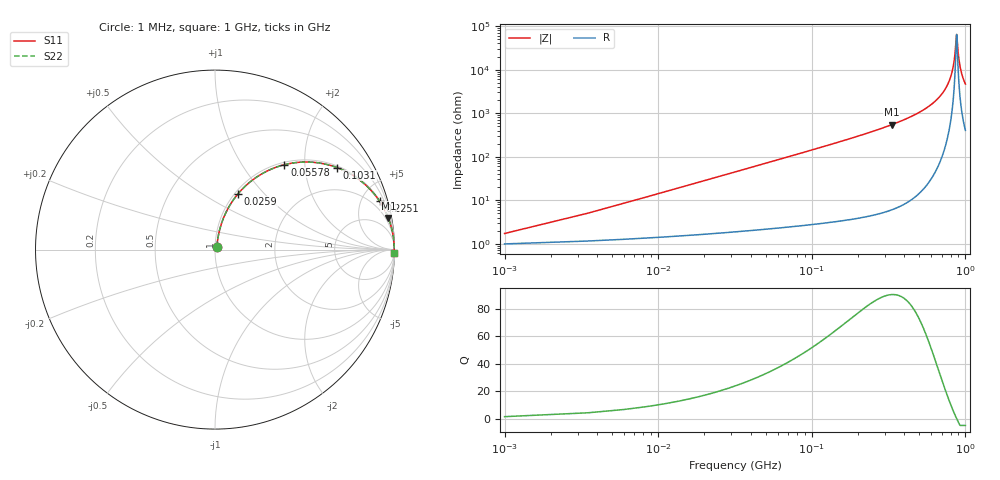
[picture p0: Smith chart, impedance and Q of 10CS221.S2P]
! Coilcraft 1008CS-221 Chip Inductor
! 02 July 2002
# MHZ S MA R 50
!Freq  MagS11  AngS11  MagS21  AngS21  MagS12  AngS12  MagS22  AngS22
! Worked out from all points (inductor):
!   403 points, 1 MHz to 1 GHz, reference 50 ohm
!   read as one part in series: L = 224 nH near 5.98 MHz
!   highest Q = 90.6 at 332.2 MHz (marker M1), where L = 262 nH
!   self-resonance near 875 MHz
!   S11 on the Smith chart (normalised r, x): 1 MHz: 1.02, +0.03; 25.9 MHz: 1.04, +0.73; 55.78 MHz: 1.04, +1.58; 103.1 MHz: 1.06, +2.94; 225.1 MHz: 1.08, +6.78; 1 GHz: 9, -93
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1  0.01704 54.1  0.9901 -0.8  0.9901 -0.8  0.01704 54.1
8.47  0.1176 76.8  0.9799 -6.7  0.9799 -6.7  0.1176 76.8
10.96  0.151 76.1  0.9747 -8.6  0.9747 -8.6  0.151 76.1
18.43  0.2479 72.1  0.9535 -14.3  0.9535 -14.3  0.2479 72.1
25.9  0.3379 67.5  0.925 -19.7  0.925 -19.7  0.3379 67.5
55.78  0.6109 50.7  0.7746 -37.6  0.7746 -37.6  0.6109 50.7
103.09  0.8199 33.9  0.5572 -55.1  0.5572 -55.1  0.8199 33.9
167.83  0.9214 22.1  0.3758 -67.1  0.3758 -67.1  0.9214 22.1
225.1  0.956 16.4  0.2819 -72.9  0.2819 -72.9  0.956 16.4
332.17  0.9817 10.4  0.1799 -79.0  0.1799 -79.0  0.9817 10.4
334.66  0.982 10.3  0.1781 -79.1  0.1781 -79.1  0.982 10.3
501.49  0.9942 5.4  0.09481 -83.8  0.09481 -83.8  0.9942 5.4
668.32  0.9978 2.5  0.04451 -85.8  0.04451 -85.8  0.9978 2.5
772.9  0.9984 1.2  0.02056 -85.0  0.02056 -85.0  0.9984 1.2
835.15  0.9985 0.5  0.008075 -79.1  0.008075 -79.1  0.9985 0.5
852.58  0.9985 0.3  0.004835 -71.7  0.004835 -71.7  0.9985 0.3
872.5  0.9985 0.0  0.001763 -29.2  0.001763 -29.2  0.9985 0.0
877.48  0.9985 -0.0  0.00155 2.2  0.00155 2.2  0.9985 -0.0
902.38  0.9984 -0.3  0.004856 70.5  0.004856 70.5  0.9984 -0.3
922.3  0.9983 -0.5  0.008282 78.1  0.008282 78.1  0.9983 -0.5
954.67  0.9982 -0.8  0.01381 82.1  0.01381 82.1  0.9982 -0.8
1000  0.9979 -1.2  0.02132 83.8  0.02132 83.8  0.9979 -1.2
